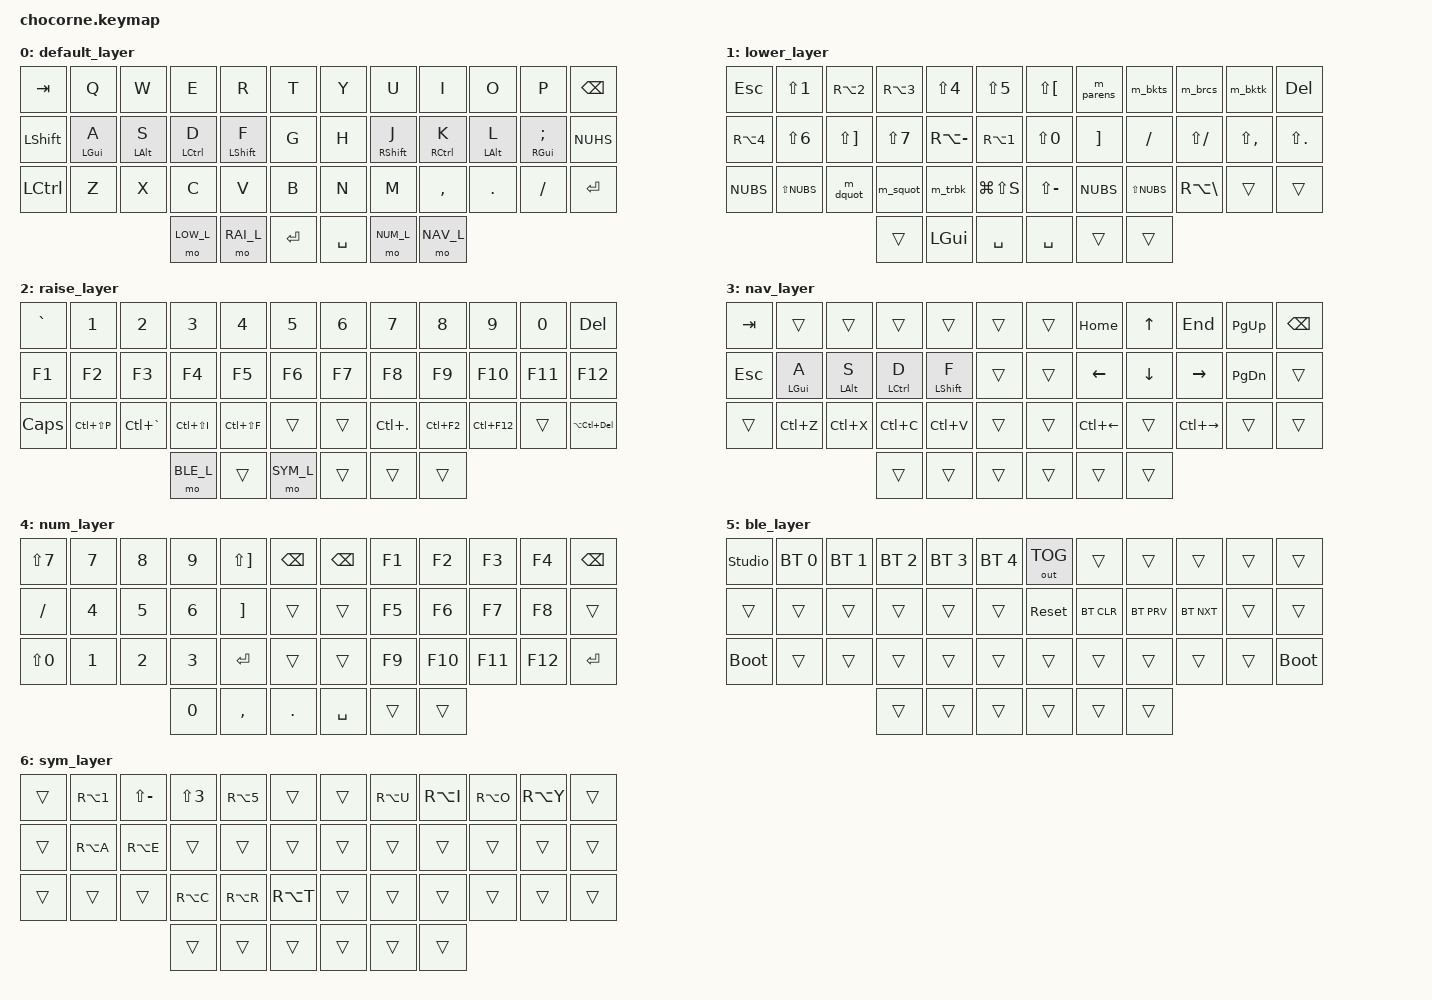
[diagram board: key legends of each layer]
/*
 * Copyright (c) 2020 The ZMK Contributors
 * SPDX-License-Identifier: MIT
 *
 * Chocorne keymap — Dev Edition (Python · Go · TypeScript)
 * SO: Español (ES) | Editor: VS Code | Terminal: uso intensivo
 *
 * Filosofía de diseño:
 *  · Brackets/parens siempre como macros de par (abre+cierra, cursor en medio)
 *  · Backtick, comillas simples y dobles en posiciones de 1 tecla
 *  · Pipe, slash y operadores de terminal cómodos en LOWER
 *  · Atajos VS Code frecuentes en RAISE (sin mover manos del homerow)
 *  · Español completo: Ñ por combo, acentos y ¿¡ en SYM
 */

#include <behaviors.dtsi>
#include <dt-bindings/zmk/bt.h>
#include <dt-bindings/zmk/keys.h>
#include <dt-bindings/zmk/outputs.h>

// ─── Capas ────────────────────────────────────────────────────────────────────
#define DEF_L 0   // Default QWERTY
#define LOW_L 1   // Lower   — símbolos programación
#define RAI_L 2   // Raise   — números + F-keys + VS Code shortcuts
#define NAV_L 3   // Nav     — navegación + terminal
#define NUM_L 4   // Numpad  — calculadora
#define BLE_L 5   // BLE     — Bluetooth / sistema
#define SYM_L 6   // Sym     — símbolos ES escritura

// ─── Keycodes ES (teclado físico Español) ─────────────────────────────────────
// Brackets y agrupadores
#define ES_LBRC   RA(GRAVE)      // {
#define ES_RBRC   RA(PLUS)       // }
#define ES_LBKT   RA(LBKT)       // [
#define ES_RBKT   RA(RBKT)       // ]
#define ES_LPAR   LS(N8)         // (
#define ES_RPAR   LS(N9)         // )
#define ES_LT     NUBS           // <
#define ES_GT     LS(NUBS)       // >
// Comillas y literales
#define ES_APOS   NUHS           // '  (tecla # física en ES)
#define ES_DQUOT  LS(N2)         // "
#define ES_BKTK   RA(BSLH)       // `  (AltGr + \)
// Operadores
#define ES_PIPE   RA(N1)         // |
#define ES_BSLH   RA(MINUS)      // Backslash
#define ES_AT     RA(N2)         // @
#define ES_HASH   RA(N3)         // #
#define ES_TILDE  RA(N4)         // ~
#define ES_EURO   RA(N5)         // €
#define ES_CARET  LS(LBKT)       // ^
#define ES_PLUS   RBKT            // +
#define ES_MINUS  FSLH            // -
#define ES_UNDER  LS(FSLH)       // _
#define ES_EQUAL  LS(N0)         // =
#define ES_FSLH   LS(N7)         // /
#define ES_STAR   LS(RBKT)       // *
#define ES_AMPR   LS(N6)         // &
#define ES_DLLR   LS(N4)         // $
#define ES_PRCNT  LS(N5)         // %
#define ES_EXCL   LS(N1)         // !
#define ES_SCLN   LS(COMMA)      // ;
#define ES_COLN   LS(DOT)        // :
#define ES_IQUES  LS(MINUS)      // ?
#define ES_IEXCL  RA(N1)         // ¡
#define ES_MIDDOT LS(N3)         // ·
// Español
#define ES_NTIL   SEMI           // Ñ  (tecla ; en ES)
#define ES_ACUT   LBKT           // ´  dead acute → á é í ó ú

// VS Code atajos (Windows)
#define VS_FMT    LC(LS(I))      // Format document
#define VS_TERM   LC(GRAVE)      // Toggle terminal integrado
#define VS_SB     LC(B)          // Toggle sidebar
#define VS_QFX    LC(DOT)        // Quick fix / code action
#define VS_REN    LC(F2)         // Rename symbol
#define VS_DEF    LC(F12)        // Go to definition
#define VS_PAL    LC(LS(P))      // Command palette
#define VS_SRCH   LC(LS(F))      // Search en proyecto
#define WIN_SNIP  LG(LS(S))      // Recorte de pantalla


/ {
    // =========================================================================
    // BEHAVIORS
    // =========================================================================
    behaviors {

        // Homerow estándar — dedos medios (S D / K L)
        ht: hold_tap {
            compatible = "zmk,behavior-hold-tap";
            label = "HT";
            #binding-cells = <2>;
            tapping-term-ms = <220>;
            quick-tap-ms = <175>;
            flavor = "balanced";
            bindings = <&kp>, <&kp>;
        };

        // Homerow rápido — índices (F / J)
        htf: hold_tap_fast {
            compatible = "zmk,behavior-hold-tap";
            label = "HTF";
            #binding-cells = <2>;
            tapping-term-ms = <200>;
            quick-tap-ms = <175>;
            flavor = "balanced";
            bindings = <&kp>, <&kp>;
        };

        // Homerow lento — meñiques (A / Ñ)
        // tap-preferred: evita falsos positivos en posiciones de esquina
        hts: hold_tap_slow {
            compatible = "zmk,behavior-hold-tap";
            label = "HTS";
            #binding-cells = <2>;
            tapping-term-ms = <260>;
            quick-tap-ms = <175>;
            flavor = "tap-preferred";
            bindings = <&kp>, <&kp>;
        };
    };

    // =========================================================================
    // MACROS — pares de símbolos (abre + cierra, cursor entre ellos)
    // =========================================================================
    macros {

        // ()
        m_parens: macro_parens {
            compatible = "zmk,behavior-macro";
            label = "M_PARENS";
            #binding-cells = <0>;
            bindings = <&kp ES_LPAR &kp ES_RPAR &kp LEFT>;
        };

        // []
        m_bkts: macro_brackets {
            compatible = "zmk,behavior-macro";
            label = "M_BKTS";
            #binding-cells = <0>;
            bindings = <&kp ES_LBKT &kp ES_RBKT &kp LEFT>;
        };

        // {}
        m_brcs: macro_braces {
            compatible = "zmk,behavior-macro";
            label = "M_BRCS";
            #binding-cells = <0>;
            bindings = <&kp ES_LBRC &kp ES_RBRC &kp LEFT>;
        };

        // ""
        m_dquot: macro_dquot {
            compatible = "zmk,behavior-macro";
            label = "M_DQUOT";
            #binding-cells = <0>;
            bindings = <&kp ES_DQUOT &kp ES_DQUOT &kp LEFT>;
        };

        // ''
        m_squot: macro_squot {
            compatible = "zmk,behavior-macro";
            label = "M_SQUOT";
            #binding-cells = <0>;
            bindings = <&kp ES_APOS &kp ES_APOS &kp LEFT>;
        };

        // ``
        m_bktk: macro_backtick {
            compatible = "zmk,behavior-macro";
            label = "M_BKTK";
            #binding-cells = <0>;
            bindings = <&kp ES_BKTK &kp ES_BKTK &kp LEFT>;
        };

        // ``` — triple backtick (Python docstrings / Markdown)
        m_trbk: macro_triple_backtick {
            compatible = "zmk,behavior-macro";
            label = "M_TRBK";
            #binding-cells = <0>;
            bindings = <&kp ES_BKTK &kp ES_BKTK &kp ES_BKTK>;
        };

        // -> — arrow operator (Go, C, Python type hints)
        m_arrow: macro_arrow {
            compatible = "zmk,behavior-macro";
            label = "M_ARROW";
            #binding-cells = <0>;
            bindings = <&kp ES_MINUS &kp ES_GT>;
        };

        // => — fat arrow (TypeScript, JS)
        m_farrow: macro_fat_arrow {
            compatible = "zmk,behavior-macro";
            label = "M_FARROW";
            #binding-cells = <0>;
            bindings = <&kp ES_EQUAL &kp ES_GT>;
        };

        // := — walrus (Python 3.8+) / declaración corta Go
        m_walrus: macro_walrus {
            compatible = "zmk,behavior-macro";
            label = "M_WALRUS";
            #binding-cells = <0>;
            bindings = <&kp ES_COLN &kp ES_EQUAL>;
        };

        // :: — scope / namespaces (TypeScript, Go)
        m_scope: macro_scope {
            compatible = "zmk,behavior-macro";
            label = "M_SCOPE";
            #binding-cells = <0>;
            bindings = <&kp ES_COLN &kp ES_COLN>;
        };

        // ... — spread / ellipsis (JS/TS, Python)
        m_dots: macro_ellipsis {
            compatible = "zmk,behavior-macro";
            label = "M_DOTS";
            #binding-cells = <0>;
            bindings = <&kp DOT &kp DOT &kp DOT>;
        };
    };

    // =========================================================================
    // COMBOS
    // =========================================================================
    combos {
        compatible = "zmk,combos";

        // ── Escritura general ─────────────────────────────────────────────────

        // ESC: Q + W
        combo_esc {
            timeout-ms = <35>;
            key-positions = <1 2>;
            bindings = <&kp ESC>;
            layers = <DEF_L>;
        };

        // Caps Word: F + J — mayúsculas temporales (útil para constantes: MY_CONST)
        combo_caps_word {
            timeout-ms = <40>;
            key-positions = <15 19>;
            bindings = <&caps_word>;
            layers = <DEF_L>;
        };

        // Ñ: N + M
        combo_enie {
            timeout-ms = <40>;
            key-positions = <25 26>;
            bindings = <&kp ES_NTIL>;
            layers = <DEF_L>;
        };

        // ¿: coma + punto
        combo_iques {
            timeout-ms = <40>;
            key-positions = <27 28>;
            bindings = <&kp ES_IQUES>;
            layers = <DEF_L>;
        };

        // DEL: O + P
        combo_del {
            timeout-ms = <35>;
            key-positions = <9 10>;
            bindings = <&kp DEL>;
            layers = <DEF_L>;
        };

        // BKSP extra: I + O
        combo_bksp {
            timeout-ms = <35>;
            key-positions = <8 9>;
            bindings = <&kp BSPC>;
            layers = <DEF_L>;
        };

        // ── Programación ─────────────────────────────────────────────────────

        // ->  H + J (homerow derecha, adyacentes)
        combo_arrow {
            timeout-ms = <40>;
            key-positions = <18 19>;
            bindings = <&m_arrow>;
            layers = <DEF_L LOW_L>;
        };

        // =>  J + K
        combo_fat_arrow {
            timeout-ms = <40>;
            key-positions = <19 20>;
            bindings = <&m_farrow>;
            layers = <DEF_L LOW_L>;
        };

        // :=  K + L
        combo_walrus {
            timeout-ms = <40>;
            key-positions = <20 21>;
            bindings = <&m_walrus>;
            layers = <DEF_L LOW_L>;
        };

        // ``` W + E (Python docstring / Markdown code block)
        combo_triple_bktk {
            timeout-ms = <40>;
            key-positions = <2 3>;
            bindings = <&m_trbk>;
            layers = <DEF_L>;
        };

        // ... R + T (spread/ellipsis)
        combo_ellipsis {
            timeout-ms = <40>;
            key-positions = <4 5>;
            bindings = <&m_dots>;
            layers = <DEF_L>;
        };

        // ── Sistema ───────────────────────────────────────────────────────────

        // BLE layer: pulgares interiores (ENTER + SPACE)
        combo_ble {
            timeout-ms = <50>;
            key-positions = <39 40>;
            bindings = <&mo BLE_L>;
            layers = <DEF_L LOW_L RAI_L>;
        };

        // Bootloader izquierdo: Z + X
        combo_bootloader_left {
            timeout-ms = <50>;
            key-positions = <24 25>;
            bindings = <&bootloader>;
            layers = <DEF_L>;
        };

        // Bootloader derecho: , + .
        combo_bootloader_right {
            timeout-ms = <50>;
            key-positions = <27 28>;
            bindings = <&bootloader>;
            layers = <DEF_L>;
        };
    };

    // =========================================================================
    // KEYMAP
    // =========================================================================
    keymap {
        compatible = "zmk,keymap";

        // ─────────────────────────────────────────────────────────────────────
        // 0 · DEFAULT
        // ─────────────────────────────────────────────────────────────────────
        //
        // ┌───────┬───┬───┬───┬───┬───┐   ┌───┬───┬───┬───┬───┬───────┐
        // │  TAB  │ Q │ W │ E │ R │ T │   │ Y │ U │ I │ O │ P │ BKSP  │
        // ├───────┼───┼───┼───┼───┼───┤   ├───┼───┼───┼───┼───┼───────┤
        // │ LSHFT │GUI│ALT│CTL│SHF│ G │   │ H │SHF│CTL│ALT│GUI│  '    │
        // │       │ A │ S │ D │ F │   │   │   │ J │ K │ L │ Ñ │       │
        // ├───────┼───┼───┼───┼───┼───┤   ├───┼───┼───┼───┼───┼───────┤
        // │ LCTRL │ Z │ X │ C │ V │ B │   │ N │ M │ , │ . │ - │ ENTER │
        // └───────┴───┴───┴─┬─┴─┬─┴─┬┘   └┬──┴─┬─┴─┬─┴───┴───┴───────┘
        //                   │LOW│RAI│ENT   │SPC │NUM│NAV│
        //                   └───┴───┴───   └────┴───┴───┘
        //
        // Combos activos en DEFAULT:
        //   Q+W → ESC        F+J → CapsWord     N+M → Ñ
        //   ,+. → ¿          O+P → DEL           I+O → BKSP
        //   W+E → ```        R+T → ...
        //   H+J → ->         J+K → =>            K+L → :=
        //   ENT+SPC → BLE
        //
        default_layer {
            bindings = <
&kp TAB    &kp Q          &kp W        &kp E         &kp R          &kp T        &kp Y      &kp U          &kp I         &kp O        &kp P              &kp BSPC
&kp LSHFT  &hts LGUI A    &ht LALT S   &ht LCTRL D   &htf LSHFT F   &kp G        &kp H      &htf RSHFT J   &ht RCTRL K   &ht LALT L   &hts RGUI ES_NTIL  &kp ES_APOS
&kp LCTRL  &kp Z          &kp X        &kp C         &kp V          &kp B        &kp N      &kp M          &kp COMMA     &kp DOT      &kp ES_MINUS       &kp ENTER
                                        &mo LOW_L     &mo RAI_L      &kp ENTER    &kp SPACE  &mo NUM_L      &mo NAV_L
            >;
        };

        // ─────────────────────────────────────────────────────────────────────
        // 1 · LOWER — Símbolos de programación
        // ─────────────────────────────────────────────────────────────────────
        //
        // Izquierda: operadores sueltos (para escribir a mano cuando el combo
        //            no encaja, p.ej. dentro de expresiones complejas)
        // Derecha: pares auto-cerrados con cursor en medio
        //
        // ┌─────┬─────┬─────┬─────┬─────┬─────┐   ┌─────┬─────┬─────┬─────┬─────┬─────┐
        // │ ESC │  !  │  @  │  #  │  $  │  %  │   │  ^  │ ()⌶ │ []⌶ │ {}⌶ │ ``⌶ │ DEL │
        // ├─────┼─────┼─────┼─────┼─────┼─────┤   ├─────┼─────┼─────┼─────┼─────┼─────┤
        // │  ~  │  &  │  *  │  /  │  \  │  |  │   │  =  │  +  │  -  │  _  │  ;  │  :  │
        // ├─────┼─────┼─────┼─────┼─────┼─────┤   ├─────┼─────┼─────┼─────┼─────┼─────┤
        // │  <  │  >  │ ""⌶ │ ''⌶ │```  │SNIP │   │  ?  │  <  │  >  │  `  │     │     │
        // └─────┴─────┴─────┴──┬──┴──┬──┴──┬──┘   └──┬──┴──┬──┴──┬──┴─────┴─────┴─────┘
        //                      │▓▓▓▓▓│ GUI │SPC      │SPC │     │     │
        //                      └─────┴─────┴─────    └─────┴─────┴─────┘
        // ⌶ = macro par, cursor queda entre los dos caracteres
        // Combos ->  =>  := siguen activos en esta capa
        //
        lower_layer {
            bindings = <
&kp ESC      &kp ES_EXCL  &kp ES_AT    &kp ES_HASH   &kp ES_DLLR   &kp ES_PRCNT    &kp ES_CARET  &m_parens    &m_bkts      &m_brcs      &m_bktk      &kp DEL
&kp ES_TILDE &kp ES_AMPR  &kp ES_STAR  &kp ES_FSLH   &kp ES_BSLH   &kp ES_PIPE     &kp ES_EQUAL  &kp ES_PLUS  &kp ES_MINUS &kp ES_UNDER &kp ES_SCLN  &kp ES_COLN
&kp ES_LT    &kp ES_GT    &m_dquot     &m_squot      &m_trbk       &kp WIN_SNIP    &kp ES_IQUES  &kp ES_LT    &kp ES_GT    &kp ES_BKTK  &trans       &trans
                                        &trans        &kp LGUI      &kp SPACE       &kp SPACE     &trans       &trans
            >;
        };

        // ─────────────────────────────────────────────────────────────────────
        // 2 · RAISE — Números + F-keys + VS Code
        // ─────────────────────────────────────────────────────────────────────
        //
        // ┌──────┬───┬───┬───┬───┬─────┐   ┌─────┬─────┬─────┬─────┬─────┬─────────┐
        // │  `   │ 1 │ 2 │ 3 │ 4 │  5  │   │  6  │  7  │  8  │  9  │  0  │   DEL   │
        // ├──────┼───┼───┼───┼───┼─────┤   ├─────┼─────┼─────┼─────┼─────┼─────────┤
        // │  F1  │F2 │F3 │F4 │F5 │  F6 │   │  F7 │  F8 │  F9 │ F10 │ F11 │   F12   │
        // ├──────┼───┼───┼───┼───┼─────┤   ├─────┼─────┼─────┼─────┼─────┼─────────┤
        // │ CAPS │PAL│TRM│FMT│SRH│     │   │     │ QFX │ REN │ DEF │     │ CA(DEL) │
        // └──────┴───┴───┴─┬─┴─┬─┴─┬──┘   └──┬──┴──┬──┴──┬──┴─────┴─────┴─────────┘
        //                  │BLE│▓▓▓│SYM      │    │    │    │
        //                  └───┴───┴───      └────┴────┴────┘
        //
        // Fila 3 izq = VS Code workflow:
        //   PAL = Command Palette (Ctrl+Shift+P)
        //   TRM = Toggle Terminal  (Ctrl+`)
        //   FMT = Format Document  (Ctrl+Shift+I)
        //   SRH = Search en repo   (Ctrl+Shift+F)
        // Fila 3 der = refactoring:
        //   QFX = Quick Fix        (Ctrl+.)
        //   REN = Rename Symbol    (Ctrl+F2)
        //   DEF = Go to Definition (Ctrl+F12)
        //
        raise_layer {
            bindings = <
&kp GRAVE  &kp N1       &kp N2       &kp N3       &kp N4       &kp N5         &kp N6   &kp N7      &kp N8      &kp N9       &kp N0   &kp DEL
&kp F1     &kp F2       &kp F3       &kp F4       &kp F5       &kp F6         &kp F7   &kp F8      &kp F9      &kp F10      &kp F11  &kp F12
&kp CAPS   &kp VS_PAL   &kp VS_TERM  &kp VS_FMT   &kp VS_SRCH  &trans         &trans   &kp VS_QFX  &kp VS_REN  &kp VS_DEF   &trans   &kp LA(LC(DEL))
                                      &mo BLE_L    &trans       &mo SYM_L      &trans   &trans      &trans
            >;
        };

        // ─────────────────────────────────────────────────────────────────────
        // 3 · NAV — Navegación + Terminal + Edición
        // ─────────────────────────────────────────────────────────────────────
        //
        // ┌─────┬──────┬──────┬──────┬──────┬──────┐   ┌──────┬──────┬──────┬──────┬──────┬──────┐
        // │ TAB │      │      │      │      │      │   │      │ HOME │  ↑   │  END │ PGUP │ BKSP │
        // ├─────┼──────┼──────┼──────┼──────┼──────┤   ├──────┼──────┼──────┼──────┼──────┼──────┤
        // │ ESC │ GUI  │ ALT  │ CTRL │ SHFT │      │   │      │  ←   │  ↓   │  →   │ PGDN │      │
        // ├─────┼──────┼──────┼──────┼──────┼──────┤   ├──────┼──────┼──────┼──────┼──────┼──────┤
        // │     │ UNDO │ CUT  │ COPY │PASTE │      │   │      │ W←   │      │  W→  │      │      │
        // └─────┴──────┴──────┴──┬───┴──┬───┴──┬───┘   └──┬───┴──┬───┴──┬───┴──────┴──────┴──────┘
        //                        │      │      │          │      │      │▓▓▓│
        //                        └──────┴──────┴──────    └──────┴──────┴───┘
        //
        // Tip: mantén D (CTRL) + flecha = saltar palabra en terminal
        //      mantén F (SHFT) + flecha = seleccionar texto
        //      mantén D (CTRL) + W←/W→ = saltar palabra (Ctrl+Left/Right)
        //
        nav_layer {
            bindings = <
&kp TAB  &trans        &trans       &trans        &trans         &trans       &trans  &kp HOME      &kp UP    &kp END        &kp PG_UP  &kp BSPC
&kp ESC  &hts LGUI A   &ht LALT S   &ht LCTRL D   &htf LSHFT F   &trans       &trans  &kp LEFT      &kp DOWN  &kp RIGHT      &kp PG_DN  &trans
&trans   &kp LC(Z)     &kp LC(X)    &kp LC(C)     &kp LC(V)      &trans       &trans  &kp LC(LEFT)  &trans    &kp LC(RIGHT)  &trans     &trans
                                     &trans        &trans         &trans       &trans  &trans        &trans
            >;
        };

        // ─────────────────────────────────────────────────────────────────────
        // 4 · NUMPAD — Layout calculadora + F-keys
        // ─────────────────────────────────────────────────────────────────────
        //
        // ┌──────┬───┬───┬───┬──────┬──────┐   ┌──────┬────┬────┬────┬────┬──────┐
        // │   /  │ 7 │ 8 │ 9 │  *   │ BKSP │   │ BKSP │ F1 │ F2 │ F3 │ F4 │ BKSP │
        // ├──────┼───┼───┼───┼──────┼──────┤   ├──────┼────┼────┼────┼────┼──────┤
        // │   -  │ 4 │ 5 │ 6 │  +   │      │   │      │ F5 │ F6 │ F7 │ F8 │      │
        // ├──────┼───┼───┼───┼──────┼──────┤   ├──────┼────┼────┼────┼────┼──────┤
        // │   =  │ 1 │ 2 │ 3 │ ENTR │      │   │      │ F9 │F10 │F11 │F12 │ ENT  │
        // └──────┴───┴───┴─┬─┴──┬───┴─┬────┘   └──┬───┴─┬──┴─┬──┴────┴────┴──────┘
        //                  │ 0  │  ,  │  .        │     │▓▓▓│   │
        //                  └────┴─────┴───        └─────┴────┴───┘
        //
        num_layer {
            bindings = <
&kp ES_FSLH   &kp N7  &kp N8  &kp N9  &kp ES_STAR   &kp BSPC     &kp BSPC   &kp F1   &kp F2   &kp F3   &kp F4   &kp BSPC
&kp ES_MINUS  &kp N4  &kp N5  &kp N6  &kp ES_PLUS   &trans       &trans     &kp F5   &kp F6   &kp F7   &kp F8   &trans
&kp ES_EQUAL  &kp N1  &kp N2  &kp N3  &kp ENTER     &trans       &trans     &kp F9   &kp F10  &kp F11  &kp F12  &kp ENTER
                               &kp N0  &kp COMMA     &kp DOT      &kp SPACE  &trans   &trans
            >;
        };

        // ─────────────────────────────────────────────────────────────────────
        // 5 · BLE — Bluetooth / Sistema
        // ─────────────────────────────────────────────────────────────────────
        //
        // BT_SEL 0-4 : seleccionar perfil BT
        // OUT_TOG    : alternar BT ↔ USB
        // BT_CLR     : desemparejar perfil actual
        // sys_reset  : reset firmware
        // bootloader : modo DFU (flashear nuevo firmware)
        //
        ble_layer {
            bindings = <
&studio_unlock &bt BT_SEL 0  &bt BT_SEL 1  &bt BT_SEL 2  &bt BT_SEL 3  &bt BT_SEL 4    &out OUT_TOG  &trans      &trans       &trans       &trans  &trans
&trans       &trans        &trans        &trans        &trans        &trans          &sys_reset    &bt BT_CLR  &bt BT_PRV   &bt BT_NXT   &trans  &trans
&bootloader  &trans        &trans        &trans        &trans        &trans          &trans        &trans      &trans       &trans       &trans  &bootloader
                                        &trans        &trans        &trans          &trans        &trans      &trans
            >;
        };

        // ─────────────────────────────────────────────────────────────────────
        // 6 · SYM — Símbolos ES escritura (desde RAISE, pulgar der. centro)
        // ─────────────────────────────────────────────────────────────────────
        //
        // Para escritura en español sin salir del flujo:
        // vocales con acento, ¡ ¿ · € y símbolos de puntuación menos frecuentes
        //
        // ┌─────┬─────┬─────┬─────┬─────┬─────┐   ┌─────┬─────┬─────┬─────┬─────┬─────┐
        // │     │  ¡  │  ¿  │  ·  │  €  │     │   │     │  ú  │  í  │  ó  │  ü  │     │
        // ├─────┼─────┼─────┼─────┼─────┼─────┤   ├─────┼─────┼─────┼─────┼─────┼─────┤
        // │     │  á  │  é  │     │     │     │   │     │     │     │     │     │     │
        // ├─────┼─────┼─────┼─────┼─────┼─────┤   ├─────┼─────┼─────┼─────┼─────┼─────┤
        // │     │     │     │  ©  │  ®  │  ™  │   │     │     │     │     │     │     │
        // └─────┴─────┴─────┴──┬──┴──┬──┴──┬──┘   └──┬──┴──┬──┴──┬──┴─────┴─────┴─────┘
        //                      │     │     │▓▓▓      │     │     │   │
        //                      └─────┴─────┴─────    └─────┴─────┴───┘
        //
        // Nota: en teclado ES, RA(vocal) produce la vocal con acento
        //
        sym_layer {
            bindings = <
&trans  &kp ES_IEXCL   &kp ES_IQUES    &kp ES_MIDDOT  &kp ES_EURO  &trans      &trans  &kp RA(U)  &kp RA(I)  &kp RA(O)  &kp RA(Y)  &trans
&trans  &kp RA(A)      &kp RA(E)       &trans         &trans       &trans      &trans  &trans     &trans     &trans     &trans     &trans
&trans  &trans         &trans          &kp RA(C)      &kp RA(R)    &kp RA(T)   &trans  &trans     &trans     &trans     &trans     &trans
                                        &trans         &trans       &trans      &trans  &trans     &trans
            >;
        };
    };
};
